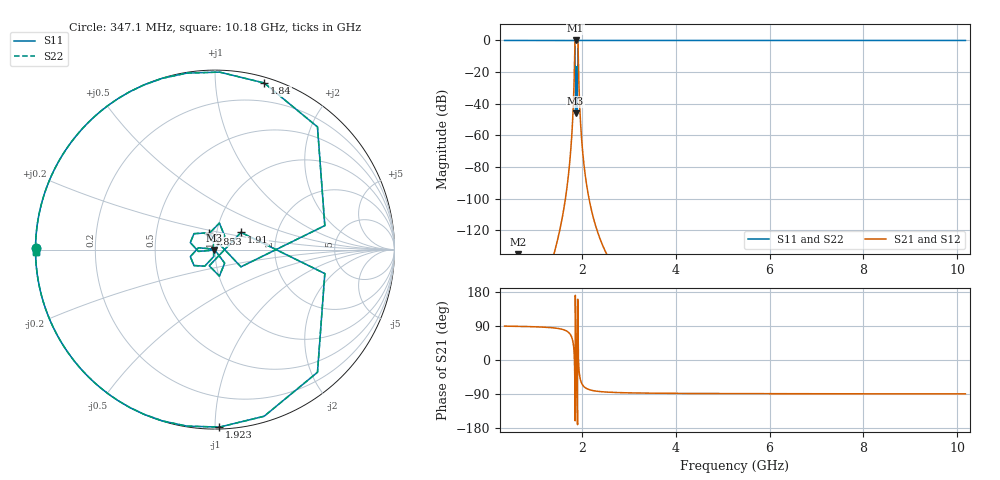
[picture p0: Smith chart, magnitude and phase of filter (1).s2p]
! rf-tools.com
! Date: Thu Jan 30 2020 10:54:43 GMT+0000 (格林尼治标准时间)
# Hz S DB R 50.00
!Frequency  S11 dB  S11 Deg  S21 dB  S21 Deg  S12 dB  S12 Deg  S22 dB  S22 Deg
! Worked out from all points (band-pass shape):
!   2000 points, 347.1 MHz to 10.18 GHz, reference 50 ohm
!   highest |S21| = 0.00 dB at 1.862 GHz (marker M1); lowest = -199.0 dB at 637.8 MHz (marker M2)
!   |S21| within 3 dB of the highest: 1.846 GHz to 1.914 GHz (67.86 MHz wide, 3.61 % of centre)
!   lowest |S11| = -46.0 dB at 1.862 GHz (marker M3), VSWR 1.01, Z = 49.6 - j0.247 ohm
!   |S11| at or under -10 dB: 1.848 GHz to 1.912 GHz (63.33 MHz wide, 3.37 % of centre)
!   |S22| runs from -46.0 to 0.0 dB; largest |S21 - S12| = 0
!   S11 on the Smith chart (normalised r, x): 347.1 MHz: -0.00, +0.01; 1.84 GHz: 0.05, +1.34; 1.853 GHz: 0.92, +0.17; 1.91 GHz: 1.31, +0.26; 1.923 GHz: 0.01, -1.03; 10.18 GHz: -0.00, -0.01
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3.47119e8  0.00 179.4  -229.21 89.4  -229.21 89.4  0.00 179.4
6.378451e8  0.00 178.8  -198.97 88.8  -198.97 88.8  0.00 178.8
1.705682e9  -0.00 163.4  -85.98 73.4  -85.98 73.4  -0.00 163.4
1.740628e9  -0.00 158.9  -75.61 68.9  -75.61 68.9  -0.00 158.9
1.77629e9  -0.00 150.9  -61.88 60.9  -61.88 60.9  -0.00 150.9
1.815749e9  -0.00 129.5  -38.92 39.5  -38.92 39.5  -0.00 129.5
1.840465e9  -0.28 73.6  -12.01 -16.4  -12.01 -16.4  -0.28 73.6
1.85295e9  -20.37 109.6  -0.04 -160.4  -0.04 -160.4  -20.37 109.6
1.862368e9  -45.98 -150.3  -0.00 119.7  -0.00 119.7  -45.98 -150.3
1.88135e9  -27.98 -100.6  -0.01 -10.6  -0.01 -10.6  -27.98 -100.6
1.897315e9  -45.98 150.3  -0.00 -119.7  -0.00 -119.7  -45.98 150.3
1.910185e9  -15.20 33.6  -0.13 123.6  -0.13 123.6  -15.20 33.6
1.923142e9  -0.09 -88.5  -16.69 1.5  -16.69 1.5  -0.09 -88.5
1.946029e9  -0.00 -129.5  -38.92 -39.5  -38.92 -39.5  -0.00 -129.5
1.985899e9  -0.00 -150.0  -60.51 -60.0  -60.51 -60.0  -0.00 -150.0
2.030015e9  -0.00 -158.9  -75.61 -68.9  -75.61 -68.9  -0.00 -158.9
2.07862e9  -0.00 -164.0  -87.49 -74.0  -87.49 -74.0  -0.00 -164.0
3.624583e9  -0.00 -177.7  -172.25 -87.7  -172.25 -87.7  -0.00 -177.7
5.26587e9  -0.00 -178.7  -196.16 -88.7  -196.16 -88.7  -0.00 -178.7
6.91262e9  -0.00 -179.1  -210.57 -89.1  -210.57 -89.1  -0.00 -179.1
8.55314e9  -0.00 -179.3  -221.00 -89.3  -221.00 -89.3  -0.00 -179.3
1.01795e10  0.00 -179.4  -229.21 -89.4  -229.21 -89.4  0.00 -179.4
